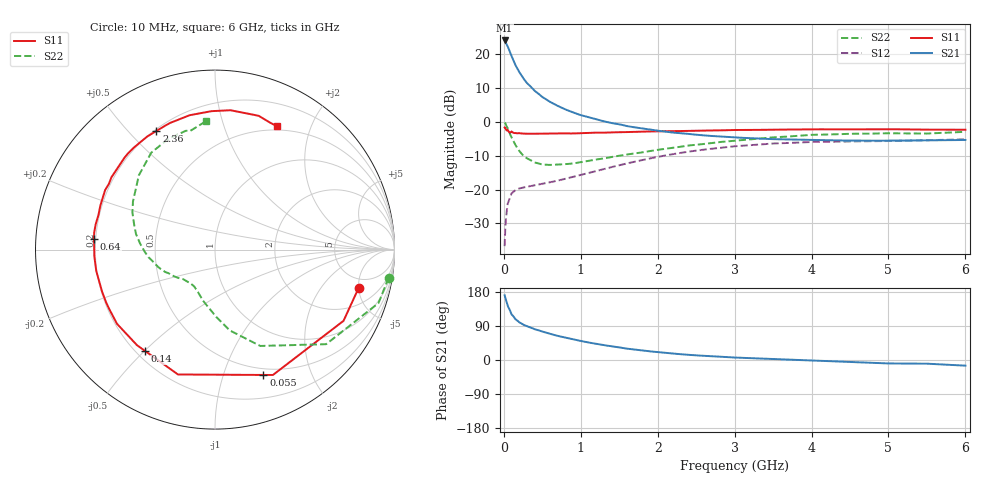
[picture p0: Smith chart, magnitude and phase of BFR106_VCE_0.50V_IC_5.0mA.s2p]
! Infineon Technologies  Discrete & RF Semiconductors
! BFR106
! VCE = 0.50 V,  IC =  5.0 mA
! Common Emitter S-Parameters:  Nov 2015
# GHz  S  MA  R  50
!  f  S11  S21  S12  S22
! GHz  MAG  ANG  MAG  ANG  MAG  ANG  MAG  ANG
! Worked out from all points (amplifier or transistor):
!   210 points, 10 MHz to 6 GHz, reference 50 ohm
!   highest |S21| = 24.1 dB at 10 MHz (marker M1)
!   |S21| within 3 dB of that: start of sweep to 71.48 MHz
!   unconditionally stable (mu >= 1): 563.9 MHz to end of sweep
!   at 185 MHz: K = 0.40, MSG = 17.6 dB, |S12| = -19.8 dB
!   at 1.52 GHz: K = 1.19, MAG = 3.3 dB, |S12| = -12.7 dB
!   at 6 GHz: K = 1.03, MAG = -1.2 dB, |S12| = -5.1 dB
!   S11 on the Smith chart (normalised r, x): 10 MHz: 3.68, -5.01; 55 MHz: 0.43, -1.37; 140 MHz: 0.24, -0.50; 640 MHz: 0.19, +0.04; 2.36 GHz: 0.21, +0.60; 6 GHz: 0.46, +1.53
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0.01  0.8285 -14.9  16.06 170.8  0.0146 83.2  0.98 -9.2
0.02  0.8187 -29.0  15.63 163.2  0.0289 75.1  0.9584 -18.1
0.05  0.7695 -65.2  13.14 142.0  0.0616 57.4  0.813 -40.4
0.055  0.7486 -68.9  12.71 140.4  0.0639 55.1  0.7861 -42.2
0.1  0.7257 -106.5  9.447 120.5  0.0879 40.7  0.5934 -64.8
0.14  0.6861 -124.5  7.412 110.9  0.0964 34.2  0.4816 -76.1
0.15  0.6874 -129.2  6.948 107.6  0.0987 32.8  0.4574 -79.7
0.2  0.6849 -142.9  5.496 99.6  0.104 30.0  0.3747 -89.0
0.26  0.6741 -154.2  4.327 92.5  0.1079 28.6  0.3143 -98.5
0.3  0.6713 -159.6  3.773 88.9  0.1101 28.5  0.2914 -103.3
0.4  0.6722 -169.8  2.898 81.3  0.1159 29.7  0.2529 -112.5
0.5  0.6735 -176.8  2.348 74.9  0.1215 32.0  0.2356 -119.6
0.64  0.6764 175.0  1.883 66.9  0.1313 35.5  0.2331 -127.0
0.8  0.6796 167.9  1.533 58.9  0.1449 39.1  0.2382 -134.4
1.02  0.6849 158.3  1.247 49.4  0.1671 43.1  0.2579 -142.2
1.4  0.7038 145.1  0.966 36.3  0.2153 46.0  0.3041 -155.8
2.02  0.7279 125.9  0.74 20.5  0.308 42.6  0.3908 -178.0
2.36  0.7373 116.3  0.673 14.3  0.3588 38.1  0.442 170.1
3.1  0.7622 98.8  0.584 5.7  0.4456 25.7  0.5394 146.7
4.1  0.78 82.4  0.54 -2.0  0.5082 9.6  0.6493 121.1
5.1  0.781 70.9  0.531 -9.2  0.5266 -2.5  0.6803 103.4
6  0.7689 63.2  0.543 -14.9  0.5539 -11.1  0.7171 94.0
